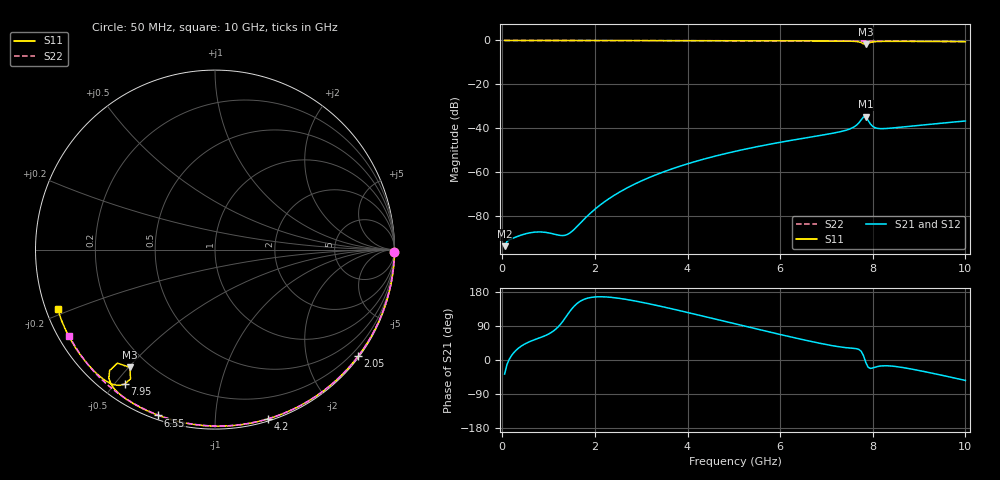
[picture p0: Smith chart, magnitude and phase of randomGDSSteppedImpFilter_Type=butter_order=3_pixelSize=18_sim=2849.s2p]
! freq	dB(S11)	phase(S11)	dB(S12)	phase(S12)
!  dB(S21)	phase(S21)	dB(S22)	phase(S22)
!S-par simulation data
#  GHz  S  DB  R 50
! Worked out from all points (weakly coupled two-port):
!   200 points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, 50 MHz to 10 GHz, reference 50 ohm
!   highest |S21| = -34.82 dB at 7.85 GHz (marker M1); lowest = -93.8 dB at 50 MHz (marker M2)
!   lowest |S11| = -1.8 dB at 7.85 GHz (marker M3), VSWR 9.52, Z = 6.6 - j25.2 ohm
!   |S11| at or under -10 dB: nowhere
!   |S22| runs from -0.5 to 0.0 dB; largest |S21 - S12| = 0
!   S11 on the Smith chart (normalised r, x): 50 MHz: open; 2.05 GHz: 0.03, -3.02; 4.2 GHz: 0.02, -1.36; 6.55 GHz: 0.02, -0.71; 7.95 GHz: 0.07, -0.53; 10 GHz: 0.03, -0.18
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0.05  -0.00 -0.9  -93.79 -37.2  -93.79 -37.2  -0.00 -0.9
0.85  -0.02 -15.4  -87.33 60.5  -87.33 60.5  -0.02 -14.6
1.75  -0.04 -31.4  -81.86 159.3  -81.86 159.3  -0.04 -29.8
1.85  -0.04 -33.2  -79.79 163.5  -79.79 163.5  -0.04 -31.5
2.05  -0.05 -36.7  -76.08 166.8  -76.08 166.8  -0.04 -34.8
2.65  -0.06 -47.0  -67.74 160.4  -67.74 160.4  -0.06 -44.6
3.4  -0.08 -59.7  -60.57 142.3  -60.57 142.3  -0.08 -56.6
4.2  -0.10 -72.7  -55.00 119.7  -55.00 119.7  -0.10 -69.0
5.05  -0.13 -86.1  -50.45 94.8  -50.45 94.8  -0.13 -81.7
6.55  -0.21 -108.9  -44.42 52.1  -44.42 52.1  -0.20 -103.0
6.7  -0.22 -111.2  -43.89 48.1  -43.89 48.1  -0.20 -105.1
7.5  -0.33 -124.4  -40.38 31.6  -40.38 31.6  -0.26 -116.0
7.65  -0.49 -128.0  -38.60 29.8  -38.60 29.8  -0.27 -118.0
7.75  -0.98 -131.1  -36.21 23.0  -36.21 23.0  -0.28 -119.3
7.8  -1.57 -130.7  -34.86 11.3  -34.86 11.3  -0.28 -120.0
7.85  -1.83 -125.9  -34.82 -6.8  -34.82 -6.8  -0.28 -120.6
7.95  -0.88 -123.9  -38.11 -22.2  -38.11 -22.2  -0.29 -122.0
8  -0.67 -125.2  -39.19 -21.0  -39.19 -21.0  -0.29 -122.7
8.1  -0.49 -127.8  -40.07 -17.3  -40.07 -17.3  -0.30 -124.0
8.35  -0.41 -132.6  -40.05 -15.5  -40.05 -15.5  -0.33 -127.3
9.1  -0.44 -144.5  -38.46 -30.2  -38.46 -30.2  -0.40 -137.2
10  -0.57 -159.2  -36.73 -53.9  -36.73 -53.9  -0.50 -149.2
